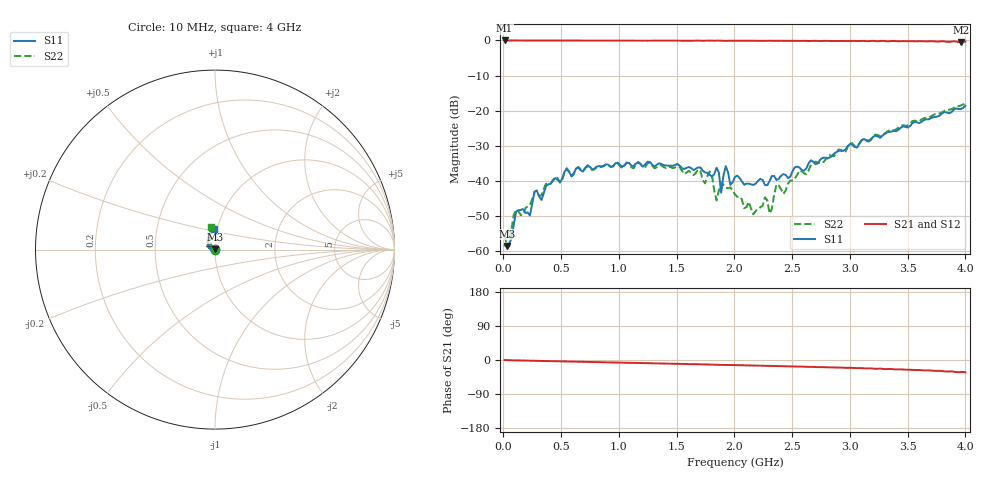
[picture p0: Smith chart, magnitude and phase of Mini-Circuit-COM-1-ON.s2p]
! 9/28/2016 3:30:47 PM
! C:\USERS\ANRITSUUSER\DESKTOP\SWITCHES\MINI-CIRCUIT-COM-1-ON.S2P
! CHANNEL.1
! TR.MEASUREMENT
! CORRECTED.DATA
# GHZ S RI R 50.0
! FREQ.GHZ  S11RE  S11IM  S21RE  S21IM  S12RE  S12IM  S22RE  S22IM
!; PortSelection: Port_12
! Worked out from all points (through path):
!   201 points, 10 MHz to 4 GHz, reference 50 ohm
!   highest |S21| = 0.00 dB at 10 MHz (marker M1); lowest = -0.5 dB at 3.96 GHz (marker M2)
!   group delay of S21, straight-line fit = 20.7 ps
!   lowest |S11| = -58.4 dB at 29.95 MHz (marker M3), VSWR 1.00, Z = 50.1 + j0.0941 ohm
!   |S11| at or under -10 dB: start of sweep to end of sweep
!   |S22| runs from -58.5 to -17.9 dB; largest |S21 - S12| = 0.013
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0.01  0.000949 0.000759  0.9995 -0.00312  0.9965 -0.0153  0.00169 -0.0002
0.02995  0.000741 0.00094  0.9987 -0.00921  0.9962 -0.00685  0.000537 0.00108
0.10975  0.000136 0.0037  0.998 -0.0184  0.9955 -0.0161  0.00174 0.00346
0.22945  5.98e-05 0.00324  0.9965 -0.0323  0.9944 -0.0295  0.00372 0.00272
0.26935  0.00354 0.00617  0.9965 -0.037  0.9942 -0.0343  0.00328 0.00615
0.6883  0.00891 0.0104  0.9917 -0.0842  0.9895 -0.0805  0.00841 0.011
1.34665  0.0174 0.00427  0.9798 -0.156  0.9779 -0.1519  0.0135 0.00995
1.78555  0.0118 -0.00368  0.9729 -0.2083  0.9692 -0.2009  0.0123 0.006
1.8454  0.0142 -0.00611  0.9702 -0.213  0.9698 -0.2102  0.00436 0.00302
1.8853  0.00565 -0.00384  0.966 -0.2226  0.9651 -0.2149  0.00936 0.00167
1.9252  0.014 -0.0084  0.9622 -0.2204  0.9631 -0.2181  0.00712 0.00361
1.9651  0.00633 -0.00617  0.9645 -0.2265  0.9619 -0.2201  0.00742 0.0033
2.005  0.00926 -0.00683  0.9616 -0.2305  0.9619 -0.2252  0.00576 0.0029
2.1646  0.000728 -0.00879  0.9574 -0.2498  0.9553 -0.2465  0.000879 0.00325
2.26435  -0.00305 -0.00828  0.953 -0.2603  0.9505 -0.2573  -0.00314 0.00496
2.30425  -0.00266 -0.00961  0.9527 -0.2665  0.9509 -0.2613  -0.00182 0.00296
2.3641  -0.00525 -0.0089  0.9491 -0.2702  0.9468 -0.2682  -0.00438 0.00784
2.42395  -0.00762 -0.00997  0.9464 -0.2807  0.9454 -0.2744  -0.00511 0.00413
2.6833  -0.0177 -0.0065  0.938 -0.3091  0.9318 -0.3036  -0.0137 0.0124
3.34165  -0.0386 0.0319  0.8926 -0.3891  0.8951 -0.3778  -0.0284 0.0441
3.9601  -0.0163 0.1044  0.8019 -0.4928  0.806 -0.494  -0.0191 0.1174
4  -0.00801 0.1172  0.8127 -0.5198  0.81 -0.5119  -0.0219 0.1252
